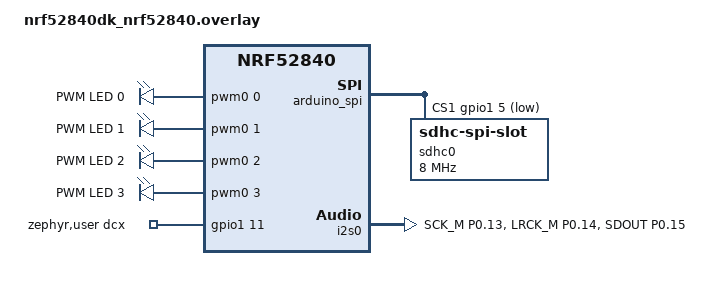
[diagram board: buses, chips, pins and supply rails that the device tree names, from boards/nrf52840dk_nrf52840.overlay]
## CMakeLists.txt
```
#-------------------------------------------------------------------------------
# Zephyr Example Application
#
# Copyright (c) 2021 Nordic Semiconductor ASA
# SPDX-License-Identifier: Apache-2.0

cmake_minimum_required(VERSION 3.13.1)
find_package(Zephyr REQUIRED HINTS $ENV{ZEPHYR_BASE})

project(app LANGUAGES C)

zephyr_include_directories(
    src
    src/Storage
    src/Audio
    src/Playback_controls
    src/Display
)
target_sources(app PRIVATE src/main.c)
target_sources(app PRIVATE src/Storage/storage_init.c)
target_sources(app PRIVATE src/Audio/wav_parser.c)
target_sources(app PRIVATE src/Audio/stream_wav_pcm.c)
target_sources(app PRIVATE src/global_variables.c)
target_sources(app PRIVATE src/Playback_controls/button_control.c)
target_sources(app PRIVATE src/Playback_controls/player_controls.c)

target_sources(app PRIVATE 
              src/display/ui.c
              src/display/images.c
              src/display/screens.c
              src/display/styles.c
              src/display/actions.c
              src/display/ui_image_eie_logo.c
              src/display/ui_image_play_button.c
              src/display/ui_image_pause_button.c
              )
```

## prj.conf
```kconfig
# Copyright (c) 2021 Nordic Semiconductor ASA
# SPDX-License-Identifier: Apache-2.0
#
# This file contains selected Kconfig options for the application.

CONFIG_GPIO=y
CONFIG_SMF=y

CONFIG_I2C=y
CONFIG_SPI=y
CONFIG_I2S=y

CONFIG_SDHC=y
CONFIG_DISK_DRIVER_SDMMC=y

CONFIG_FILE_SYSTEM=y
CONFIG_FAT_FILESYSTEM_ELM=y
CONFIG_FS_FATFS_LFN=y
CONFIG_FS_FATFS_MAX_LFN=255
CONFIG_DISK_ACCESS=y
CONFIG_PRINTK=y
CONFIG_MAIN_STACK_SIZE=4096

CONFIG_DISPLAY=y
CONFIG_LVGL=y
CONFIG_LV_FONT_MONTSERRAT_12=y
CONFIG_LV_Z_MEM_POOL_SIZE=16384
```

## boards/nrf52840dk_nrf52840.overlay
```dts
/ {
    pwmleds {
        compatible = "pwm-leds";
        pwm_led0: pwm_led_0 {
            pwms = <&pwm0 0 PWM_MSEC(20) PWM_POLARITY_NORMAL>;
            label = "PWM LED 0";
        };
        pwm_led1: pwm_led_1 {
            pwms = <&pwm0 1 PWM_MSEC(20) PWM_POLARITY_NORMAL>;
            label = "PWM LED 1";
        };
        pwm_led2: pwm_led_2 {
            pwms = <&pwm0 2 PWM_MSEC(20) PWM_POLARITY_NORMAL>;
            label = "PWM LED 2";
        };
        pwm_led3: pwm_led_3 {
            pwms = <&pwm0 3 PWM_MSEC(20) PWM_POLARITY_NORMAL>;
            label = "PWM LED 3";
        };
    };

    aliases {
        pwm-led0 = &pwm_led0;
        pwm-led1 = &pwm_led1;
        pwm-led2 = &pwm_led2;
        pwm-led3 = &pwm_led3;
    };
    zephyr,user {
        dcx-gpios = <&gpio1 11 GPIO_ACTIVE_HIGH>;
    };

    arduino_spi {
        cs-gpios = <&gpio1 12 GPIO_ACTIVE_LOW>;
    };
};

&pinctrl { 
    pwm0_default: pwm0_default {
		group1 {
			psels = 
                <NRF_PSEL(PWM_OUT0, 0, 17)>, 
                <NRF_PSEL(PWM_OUT1, 0, 18)>, 
                <NRF_PSEL(PWM_OUT2, 0, 19)>, 
                <NRF_PSEL(PWM_OUT3, 0, 20)>;
			nordic,invert;
		};
	};

    pwm0_sleep: pwm0_sleep {
		group1 {
			psels = 
                <NRF_PSEL(PWM_OUT0, 0, 17)>, 
                <NRF_PSEL(PWM_OUT1, 0, 18)>, 
                <NRF_PSEL(PWM_OUT2, 0, 19)>, 
                <NRF_PSEL(PWM_OUT3, 0, 20)>;
			low-power-enable;
		};
	};
};

&led0 {
    status = "disabled";
};

&led1 {
    status = "disabled";
};

&led2 {
    status = "disabled";
};

&led3 {
    status = "disabled";
};

&arduino_spi {
    status = "okay";

    /* Two chip-selects on the same SPI bus:
     * 0 = TFT screen CS (P1.12)
     * 1 = SD card CS   (P1.05)
     */
    cs-gpios = <&gpio1 12 GPIO_ACTIVE_LOW>,
               <&gpio1 5  GPIO_ACTIVE_LOW>;

    /* SD card as second SPI device on same bus (CS index 1) */
    sdhc0: sdhc@1 {
        compatible = "zephyr,sdhc-spi-slot";
        reg = <1>;
        status = "okay";
        spi-max-frequency = <8000000>;

        mmc {
            compatible = "zephyr,sdmmc-disk";
            disk-name = "SD";
            status = "okay";
        };
    };
};


&i2s0 {
    status = "okay";
    pinctrl-0 = <&i2s0_default>;
    pinctrl-1 = <&i2s0_sleep>;
    pinctrl-names = "default", "sleep";
};

&pinctrl {
    i2s0_default: i2s0_default {
        group1 {
            psels =
                <NRF_PSEL(I2S_SCK_M,  0, 13)>,
                <NRF_PSEL(I2S_LRCK_M, 0, 14)>,
                <NRF_PSEL(I2S_SDOUT,  0, 15)>;
        };
    };

    i2s0_sleep: i2s0_sleep {
        group1 {
            psels =
                <NRF_PSEL(I2S_SCK_M,  0, 13)>,
                <NRF_PSEL(I2S_LRCK_M, 0, 14)>,
                <NRF_PSEL(I2S_SDOUT,  0, 15)>;
            low-power-enable;
        };
    };
};
```

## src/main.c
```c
#include <zephyr/kernel.h>
#include <zephyr/sys/printk.h>
#include <zephyr/drivers/display.h>
#include <lvgl.h>

#include "storage_init.h"
#include "button_control.h"
#include "player_controls.h"
#include "ui.h"
#include "actions.h"

int main(void)
{
    int rc;
    const struct device *display_dev = DEVICE_DT_GET(DT_CHOSEN(zephyr_display));

    if (!device_is_ready(display_dev)) {
        printk("Display device not ready\n");
        return 0;
    }

    rc = storage_init();
    if (rc != 0) {
        printk("storage_init failed rc=%d\n", rc);
        return 0;
    }
    
    rc = player_control_init();
    if (rc != 0) {
        printk("player_init failed rc=%d\n", rc);
        return 0;
    }

    rc = button_control_init();
    if (rc != 0) {
        printk("button_control_init failed rc=%d\n", rc);
        return 0;
    }

    ui_init();
    display_blanking_off(display_dev);
    load_song_menu();

    player_control_start();

    while (1) {
        lv_timer_handler();
        ui_tick();
        menu_process_requests();
        k_sleep(K_MSEC(10));
        
    }

    return 0;
}
```

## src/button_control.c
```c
#include <zephyr/kernel.h>
#include "BTN.h"
#include "global_variables.h"
#include "button_control.h"

#define BUTTON_THREAD_STACK_SIZE 1024 
#define BUTTON_THREAD_PRIORITY 5 

// this part reserves board memory for the thread stack
K_THREAD_STACK_DEFINE(button_thread_stack, BUTTON_THREAD_STACK_SIZE);
static struct k_thread button_thread_data;

static void button_thread(void *p1, void *p2, void *p3)
{
    // standard thread format for zephyr needs to have 3 args
    // here we don't need it so just feed NULL into the k_create_thread function (p1,p2,p3)
    ARG_UNUSED(p1);
    ARG_UNUSED(p2);
    ARG_UNUSED(p3);

    while (1) {
        if (BTN_check_clear_pressed(BTN2)) {
            g_next_requested = true;
        }

        if (BTN_check_clear_pressed(BTN3)) {
            g_prev_requested = true;
        }

        k_sleep(K_MSEC(10));
    }
}

int button_control_init(void)
{
    int rc;

    rc = BTN_init_selected(BTN2);
    if (rc != 0) {
        return rc;
    }

    rc = BTN_init_selected(BTN3);
    if (rc != 0) {
        return rc;
    }

    k_thread_create(&button_thread_data, button_thread_stack, K_THREAD_STACK_SIZEOF(button_thread_stack),
                    button_thread, NULL, NULL, NULL, BUTTON_THREAD_PRIORITY, 0, K_NO_WAIT);

    return 0;
}
```

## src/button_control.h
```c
#ifndef BUTTON_CONTROL_H
#define BUTTON_CONTROL_H

int button_control_init(void);

#endif
```

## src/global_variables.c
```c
#include "global_variables.h"

// global variables/flags to use for multithreading for player controls
volatile bool g_next_requested = false;
volatile bool g_prev_requested = false;
volatile bool g_stop_requested = false;

volatile bool g_menu_up_requested = false;
volatile bool g_menu_down_requested = false;
volatile bool g_menu_play_requested = false;

volatile bool g_play_requested = false;
```

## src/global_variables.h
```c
#ifndef GLOBAL_VAR_H
#define GLOBAL_VAR_H

#include <stdbool.h>

extern volatile bool g_next_requested;
extern volatile bool g_prev_requested;
extern volatile bool g_stop_requested;

extern volatile bool g_menu_up_requested;
extern volatile bool g_menu_down_requested;
extern volatile bool g_menu_play_requested;

extern volatile bool g_play_requested;
#endif
```

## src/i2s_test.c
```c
/* i2s_tone_test.c
 * Simple I2S tone test (16-bit stereo, 48 kHz) for PCM5102A.
 * Plays a ~440 Hz sine-ish tone for a few seconds.
 *
 * Assumes:
 *  - i2s_dev = DEVICE_DT_GET(DT_NODELABEL(i2s0)) exists and is ready
 *  - i2s_slab is defined (I2S_BLOCK_SIZE / COUNT)
 *  - nRF is I2S master (BCLK+LRCLK out), PCM5102A is sink
 */

#include <zephyr/kernel.h>
#include <zephyr/sys/util.h>
#include <zephyr/fs/fs.h>
#include <zephyr/sys/printk.h>
#include <zephyr/device.h>
#include <zephyr/drivers/i2s.h>
#include <errno.h>
#include <stdint.h>
#include <string.h>
#include <stdbool.h>

/* Use your existing defines if already present */
#ifndef I2S_BLOCK_SIZE
#define I2S_BLOCK_SIZE   2048
#endif
#ifndef I2S_BLOCK_COUNT
#define I2S_BLOCK_COUNT  8
#endif
#ifndef I2S_TIMEOUT_MS
#define I2S_TIMEOUT_MS   2000
#endif

K_MEM_SLAB_DEFINE(i2s_slab, I2S_BLOCK_SIZE, I2S_BLOCK_COUNT, 4);

static const struct device *i2s_dev = DEVICE_DT_GET(DT_NODELABEL(i2s0));

static int i2s_config_tx_stereo_16(uint32_t sample_rate_hz)
{
    if (!device_is_ready(i2s_dev)) {
        printk("I2S device not ready\n");
        return -ENODEV;
    }

    struct i2s_config cfg = {0};

    cfg.word_size      = 16;
    cfg.channels       = 2;
    cfg.format         = I2S_FMT_DATA_FORMAT_I2S | I2S_FMT_DATA_ORDER_MSB;
    cfg.options        = I2S_OPT_BIT_CLK_MASTER | I2S_OPT_FRAME_CLK_MASTER;
    cfg.frame_clk_freq = sample_rate_hz;
    cfg.block_size     = I2S_BLOCK_SIZE;
    cfg.mem_slab       = &i2s_slab;
    cfg.timeout        = I2S_TIMEOUT_MS;

    int rc = i2s_configure(i2s_dev, I2S_DIR_TX, &cfg);
    if (rc) {
        printk("i2s_configure(TX) failed: %d\n", rc);
    }
    return rc;
}

static void i2s_stop_tx(void)
{
    (void)i2s_trigger(i2s_dev, I2S_DIR_TX, I2S_TRIGGER_DRAIN);
    (void)i2s_trigger(i2s_dev, I2S_DIR_TX, I2S_TRIGGER_STOP);
}

/* Tiny sine-ish lookup table (one period), Q15-ish amplitude.
 * This keeps the code simple (no math library).
 * 64 samples per period -> tone freq = Fs/64.
 * At 48kHz, Fs/64 = 750 Hz. (Not 440, but clearly audible.)
 */
static const int16_t sin64[64] = {
      0,  3212,  6393,  9512, 12539, 15446, 18204, 20787,
  23170, 25329, 27245, 28898, 30273, 31356, 32137, 32610,
  32767, 32610, 32137, 31356, 30273, 28898, 27245, 25329,
  23170, 20787, 18204, 15446, 12539,  9512,  6393,  3212,
      0, -3212, -6393, -9512,-12539,-15446,-18204,-20787,
 -23170,-25329,-27245,-28898,-30273,-31356,-32137,-32610,
 -32767,-32610,-32137,-31356,-30273,-28898,-27245,-25329,
 -23170,-20787,-18204,-15446,-12539, -9512, -6393, -3212
};

static void fill_stereo_block_16(void *block, uint32_t frames, uint32_t *phase, int16_t amp)
{
    /* block is interleaved L,R 16-bit */
    int16_t *p = (int16_t *)block;

    for (uint32_t i = 0; i < frames; i++) {
        int16_t s = (int16_t)((amp * (int32_t)sin64[*phase]) / 32767);

        /* L then R */
        *p++ = s;
        *p++ = s;

        *phase = (*phase + 1) & 63; /* 0..63 */
    }
}

int i2s_tone_test(void)
{
    const uint32_t fs = 48000;               /* common, easy clocking */
    const uint32_t bytes_per_frame = 2 /*ch*/ * 2 /*bytes*/;  /* 4 */
    const uint32_t frames_per_block = I2S_BLOCK_SIZE / bytes_per_frame;

    int rc = i2s_config_tx_stereo_16(fs);
    if (rc) return rc;

    /* Prime 2 blocks */
    uint32_t phase = 0;
    int16_t amp = 9000; /* keep it moderate to avoid clipping */

    for (int k = 0; k < 2; k++) {
        void *blk = NULL;
        rc = k_mem_slab_alloc(&i2s_slab, &blk, K_MSEC(I2S_TIMEOUT_MS));
        if (rc) {
            printk("slab alloc prime failed: %d\n", rc);
            rc = -ENOMEM;
            goto out;
        }

        fill_stereo_block_16(blk, frames_per_block, &phase, amp);

        rc = i2s_write(i2s_dev, blk, I2S_BLOCK_SIZE);
        if (rc) {
            printk("i2s_write prime failed: %d\n", rc);
            k_mem_slab_free(&i2s_slab, &blk);
            goto out;
        }
    }

    rc = i2s_trigger(i2s_dev, I2S_DIR_TX, I2S_TRIGGER_START);
    if (rc) {
        printk("i2s_trigger START failed: %d\n", rc);
        goto out;
    }

    /* Push enough blocks for ~3 seconds */
    const uint32_t blocks_per_sec = fs / frames_per_block;
    const uint32_t total_blocks = blocks_per_sec * 3;

    for (uint32_t n = 0; n < total_blocks; n++) {
        void *blk = NULL;
        rc = k_mem_slab_alloc(&i2s_slab, &blk, K_MSEC(I2S_TIMEOUT_MS));
        if (rc) {
            printk("slab alloc failed: %d\n", rc);
            rc = -ENOMEM;
            break;
        }

        fill_stereo_block_16(blk, frames_per_block, &phase, amp);

        rc = i2s_write(i2s_dev, blk, I2S_BLOCK_SIZE);
        if (rc) {
            printk("i2s_write failed: %d\n", rc);
            k_mem_slab_free(&i2s_slab, &blk);
            break;
        }
    }

out:
    i2s_stop_tx();
    return rc;
}
```

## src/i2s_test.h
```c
/* i2s_test.h */
#ifndef I2S_TEST_H
#define I2S_TEST_H

int i2s_tone_test(void);

#endif /* I2S_TEST_H */
```

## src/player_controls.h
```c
#ifndef PLAYER_H
#define PLAYER_H

int player_control_init(void);
void player_control_run(void);

#endif
```

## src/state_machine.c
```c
#include <zephyr/kernel.h>
#include <zephyr/smf.h>
#include "LED.h"
#include "BTN.h"
#include "state_machine.h"

enum state_machine_states {FIRST_STRING, SECOND_STRING, PRINT_STRING, STANDBY};

typedef struct {
    struct smf_ctx ctx;
    uint16_t count;

    uint8_t passcode;
    int8_t bit_index;

    char string[3]; // two character string, with a 3rd char for \0
    uint8_t str_len;

    uint8_t duty_cycle;
    int8_t direction;
    enum state_machine_states previous_state;
} state_object;

static state_object lesson_6_sm;

// Function Prototypes
static void first_string_entry(void *o);
static enum smf_state_result first_string_run(void *o);

static void second_string_entry(void *o);
static enum smf_state_result second_string_run(void *o);

static void print_string_entry(void *o);
static enum smf_state_result print_string_run(void *o);

static void standby_entry(void *o);
static enum smf_state_result standby_run(void *o);
static void standby_exit(void *o);

static int standby_checker_function(state_object *sm, enum state_machine_states current_state);

static void passcode_add_bit(state_object *sm, uint8_t bit);
static void passcode_clear(state_object *sm);
static void Flash_LED(led_id led);

static void string_clear(state_object *sm);
static void append_to_string(state_object *sm, char character, uint8_t index);

/*----------------------------------------------------------
 * Local Variables
 *----------------------------------------------------------*/
static const struct smf_state states[] = {
    [FIRST_STRING] =    SMF_CREATE_STATE(first_string_entry, first_string_run, NULL, NULL, NULL),
    [SECOND_STRING] =   SMF_CREATE_STATE(second_string_entry, second_string_run, NULL, NULL, NULL),
    [PRINT_STRING] =    SMF_CREATE_STATE(print_string_entry, print_string_run, NULL, NULL, NULL),
    [STANDBY] =         SMF_CREATE_STATE(standby_entry, standby_run, standby_exit, NULL, NULL)
};


void state_machine_init(void)
{
    lesson_6_sm.count = 0;

    lesson_6_sm.passcode = 0;
    lesson_6_sm.bit_index = 7;

    lesson_6_sm.duty_cycle = 0;
    lesson_6_sm.direction = 1;
    smf_set_initial(SMF_CTX(&lesson_6_sm), &states[FIRST_STRING]); // sets o to point at lesson_6_sm state machine (*o),
                                                                   // and sets first state to be FIRST_STRING

    lesson_6_sm.previous_state = FIRST_STRING;
    string_clear(&lesson_6_sm);

}

int state_machine_run(void)
{
    return smf_run_state(SMF_CTX(&lesson_6_sm));
}


// FIRST_STRING FUNCTIONS
static void first_string_entry(void *o){
    state_object *sm = o;
    passcode_clear(sm);
    string_clear(sm);
    printk("ENTERED FIRST_STRING\n");
    LED_blink(LED3, LED_1HZ);

}

static enum smf_state_result first_string_run(void *o){

    state_object *sm = o;

    if(standby_checker_function(sm, FIRST_STRING)){
        return SMF_EVENT_HANDLED;
    }

    // Reset entered bits
    if (BTN_check_clear_pressed(BTN2)) {
        printk("RESET PASSCODE\n");
        passcode_clear(sm);
        return SMF_EVENT_HANDLED;
    }
    
    if(BTN_check_clear_pressed(BTN0)){          // adds 0 bit to passcode
        passcode_add_bit(sm, 0);
    } else if(BTN_check_clear_pressed(BTN1)){   // adds 1 bit to passcode
        passcode_add_bit(sm, 1);
    }

    if(BTN_check_clear_pressed(BTN3)){
        if(sm->bit_index<0){
            append_to_string(sm, sm->passcode, 0);
            smf_set_state(SMF_CTX(sm), &states[SECOND_STRING]);
        }
    }

    return SMF_EVENT_HANDLED;
}

// SECOND_STRING FUNCTIONS
static void second_string_entry(void *o){
    state_object *sm = o;
    passcode_clear(sm);

    printk("ENTERED SECOND_STRING\n");
    LED_blink(LED3, LED_4HZ);

    printk("string is %s\n", sm->string);
}

static enum smf_state_result second_string_run(void *o){

    state_object *sm = o;

    if(standby_checker_function(sm, SECOND_STRING)){
        return SMF_EVENT_HANDLED;
    }

    // Reset entered bits
    if (BTN_check_clear_pressed(BTN2)) {
        printk("RESET EVERYTHING\n");
        passcode_clear(sm);
        string_clear(sm);
        smf_set_state(SMF_CTX(sm), &states[FIRST_STRING]);
        return SMF_EVENT_HANDLED;
    }
    
    if(BTN_check_clear_pressed(BTN0)){          // adds 0 bit to passcode
        passcode_add_bit(sm, 0);
    } else if(BTN_check_clear_pressed(BTN1)){   // adds 1 bit to passcode
        passcode_add_bit(sm, 1);
    }

    if(BTN_check_clear_pressed(BTN3)){
        if(sm->bit_index<0){
            append_to_string(sm, sm->passcode, 1);
            smf_set_state(SMF_CTX(sm), &states[PRINT_STRING]);
        }
    }
    return SMF_EVENT_HANDLED;
}

// PRINT_STRING FUNCTIONS
static void print_string_entry(void *o){
    state_object *sm = o;
    printk("ENTERED PRINT_STRING\n");
    printk("string is %s\n", sm->string);
    LED_blink(LED3, LED_16HZ);
}

static enum smf_state_result print_string_run(void *o){

    state_object *sm = o;

    if(standby_checker_function(sm, PRINT_STRING)){
        return SMF_EVENT_HANDLED;
    }

    if(BTN_check_clear_pressed(BTN2)){
        smf_set_state(SMF_CTX(sm), &states[FIRST_STRING]);
    }

    if(BTN_check_clear_pressed(BTN3)){
        printk("Code is %s \n", sm->string);
        //printk("Printed passcode\n");
    }
        
    return SMF_EVENT_HANDLED;
}
// STANDYBY FUNCTIONS
static void standby_entry(void *o){
    printk("ENTERED STANDBY\n");
    state_object *sm = o;
    sm->duty_cycle = 0;
    sm->direction = 1;
}

static enum smf_state_result standby_run(void *o){

    state_object *sm = o;
    
    sm->duty_cycle += sm->direction;

    if (sm->duty_cycle >= 100) {
        sm->duty_cycle = 100;
        sm->direction = -1;
    } else if (sm->duty_cycle <= 0) {
        sm->duty_cycle = 0;
        sm->direction = 1;
    }

    LED_pwm(LED0, sm->duty_cycle);
    LED_pwm(LED1, sm->duty_cycle);
    LED_pwm(LED2, sm->duty_cycle);
    LED_pwm(LED3, sm->duty_cycle);

    if(BTN_check_clear_pressed(BTN0) || BTN_check_clear_pressed(BTN1) || BTN_check_clear_pressed(BTN2) || BTN_check_clear_pressed(BTN3)){
        smf_set_state(SMF_CTX(sm), &states[sm->previous_state]);
    }
    return SMF_EVENT_HANDLED;
}

static void standby_exit(void *o){
    LED_set(LED0, LED_OFF);
    LED_set(LED1, LED_OFF);
    LED_set(LED2, LED_OFF);
    LED_set(LED3, LED_OFF);
    
    printk("LEAVING STANDBY\n");
}

static int standby_checker_function(state_object *sm, enum state_machine_states current_state){
    
    if(BTN_is_pressed(BTN0) && BTN_is_pressed(BTN1)){
        sm->count++;
        if ((sm->count % 100) == 0) {
            printk("hold count=%u\n", sm->count);
        }

        if (sm->count > 1500) {
            sm->count = 0;
            sm->previous_state = current_state; // stores the current state that you were previously in 
                                                // so you can return to it after standby is over
            BTN_clear_pressed(BTN0);
            BTN_clear_pressed(BTN1);
            smf_set_state(SMF_CTX(sm), &states[STANDBY]);
            return 1;
        }

    }
    else sm->count = 0;
    
    return 0;
}


static void passcode_add_bit(state_object *sm, uint8_t bit){
    if(sm->bit_index < 0){
        printk("8 bit limit reached\n");
        return;
    } else if(bit) {
        sm->passcode |= (1 << sm->bit_index);
        printk("bit=1, index=%d\n", sm->bit_index);
        Flash_LED(LED1);
    } else {
        printk("bit=0, index=%d\n", sm->bit_index);
        Flash_LED(LED0);
    }
    sm->bit_index -= 1;
    return;
}

static void passcode_clear(state_object *sm){
    sm->passcode = 0;
    sm->bit_index = 7;
}

static void Flash_LED(led_id led){
    LED_set(led, LED_ON);
    k_msleep(100);
    LED_set(led, LED_OFF);
}

static void string_clear(state_object *sm)
{
    sm->str_len = 0;
    sm->string[0] = '\0';
}

static void append_to_string(state_object *sm, char character, uint8_t index){
    sm->string[index] = character;
    sm->string[index+1] = '\0';
}
```

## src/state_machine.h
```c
#ifndef STATE_MACHINE_H
#define STATE_MACHINE_H

void state_machine_init();

int state_machine_run();

#endif
```

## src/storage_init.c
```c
#include <zephyr/sys/printk.h>
#include <zephyr/fs/fs.h>
#include <zephyr/storage/disk_access.h>
#include <ff.h>
#include <string.h>

#include "storage_init.h"

#define DISK_NAME   "SD"
#define MOUNT_POINT "/SD:"


static FATFS fat_fs;

static struct fs_mount_t mp = {
        .type = FS_FATFS,
        .fs_data = &fat_fs,
        .mnt_point = MOUNT_POINT,
        .storage_dev = (void *)DISK_NAME,   
    };

int storage_init(void)
{
    int rc;

    rc = disk_access_ioctl(DISK_NAME, DISK_IOCTL_CTRL_INIT, NULL);
    printk("disk init rc=%d\n", rc);
    if (rc != 0){
        return rc;
    }

    // Mount the filesystem
    rc = fs_mount(&mp);
    printk("fs_mount rc=%d\n", rc);
    if (rc != 0){
        return rc;
    }
    return 0;
}

int file_name_read(char file_names[MAX_FILE_AMOUNT][MAX_LETTER_AMOUNT])
{
    int rc;
    struct fs_dir_t directory;
    struct fs_dirent entry;

    uint8_t file_amount = 0;

    fs_dir_t_init(&directory);

    rc = fs_opendir(&directory, MOUNT_POINT);
    if (rc < 0) {
        printk("fs_opendir(%s) failed rc=%d\n", MOUNT_POINT, rc);
        return rc;
    }

    while (file_amount < MAX_FILE_AMOUNT) {

        rc = fs_readdir(&directory, &entry);
        if (rc < 0) {
            printk("fs_readdir failed rc=%d\n", rc);
            break;
        }

        /* End of directory */
        if (entry.name[0] == 0) {
            break;
        }

        /* Skip . and .. */
        if (!strcmp(entry.name, ".") || !strcmp(entry.name, "..")) {
            continue;
        }

        /* Only keep files */
        if (entry.type != FS_DIR_ENTRY_FILE) {
            continue;
        }

        /* Copy filename into array */
        strncpy(file_names[file_amount], entry.name, MAX_LETTER_AMOUNT - 1);
        file_names[file_amount][MAX_LETTER_AMOUNT - 1] = '\0';

        //printk("Stored file: %s\n", file_names[file_amount]);

        file_amount++;
    }

    fs_closedir(&directory);

    return file_amount;   // return how many files were stored
}

void build_wav_path(char *dest, size_t dest_size, const char *filename)
{
    snprintf(dest, dest_size, "%s/%s", MOUNT_POINT, filename);
}
```

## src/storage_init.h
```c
#ifndef STORAGE_INIT_H
#define STORAGE_INIT_H

#define MAX_LETTER_AMOUNT 64
#define MAX_FILE_AMOUNT 32

int storage_init();
int file_name_read(char file_names[MAX_FILE_AMOUNT][MAX_LETTER_AMOUNT]);

#endif
```

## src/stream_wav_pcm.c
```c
#include <zephyr/kernel.h>
#include <zephyr/sys/util.h>
#include <zephyr/fs/fs.h>
#include <zephyr/sys/printk.h>
#include <zephyr/device.h>
#include <zephyr/drivers/i2s.h>
#include <errno.h>
#include <stdint.h>
#include <string.h>

#include "stream_wav_pcm.h"
#include "wav_parser.h"
#include "global_variables.h"


#define I2S_TIMEOUT_MS   2000

// I2s needs fixed sized memory blocks (all considered a slab) when that are dedicated to i2s 
// better than malloc because easier and faster to allocate memory which is needed for audio.
// You want multiple memory blocks so that you can stream and process data at the same time
#define I2S_BLOCK_SIZE   2048 // fill chunks of 2048 bytes
#define I2S_BLOCK_COUNT  8    // 8 memory blocks for buffering for i2s
K_MEM_SLAB_DEFINE(i2s_slab, I2S_BLOCK_SIZE, I2S_BLOCK_COUNT, 4);

static const struct device *i2s_dev = DEVICE_DT_GET(DT_NODELABEL(i2s0));

static int i2s_config_tx(uint32_t sample_rate_hz)
{
    if (!device_is_ready(i2s_dev)) {
        printk("I2S device not ready\n");
        return -ENODEV;
    }

    struct i2s_config cfg = {
        .word_size      = 16, // 16 bit stereo audio
        .channels       = 2,  // 2 channels, L and R
        .format         = I2S_FMT_DATA_FORMAT_LEFT_JUSTIFIED, // board kept outputting in left Jus even in standard philips i2s
        .options        = I2S_OPT_BIT_CLK_MASTER | I2S_OPT_FRAME_CLK_MASTER, // board generates bit clk for dac
        .frame_clk_freq = sample_rate_hz, // play back speed matches the sample rate of the wav file
        .block_size     = I2S_BLOCK_SIZE,
        .mem_slab       = &i2s_slab,
        .timeout        = I2S_TIMEOUT_MS
    };

    int rc = i2s_configure(i2s_dev, I2S_DIR_TX, &cfg);
    printk("i2s_configure rc=%d\n", rc);
    
    return rc;
}

static inline void reclaim_mem_block(void)
{
    void *released = NULL;
    size_t released_size = 0;

    // i2s_read checks if any blocks are free, and if yes, free the block
    int rc = i2s_read(i2s_dev, &released, &released_size);
    if (rc == 0 && released != NULL) {
        k_mem_slab_free(&i2s_slab, released);
    }
}

static void i2s_stop_tx(void)
{
    (void)i2s_trigger(i2s_dev, I2S_DIR_TX, I2S_TRIGGER_DRAIN);
    (void)i2s_trigger(i2s_dev, I2S_DIR_TX, I2S_TRIGGER_STOP);

    for (int i = 0; i < I2S_BLOCK_COUNT; i++) {
        reclaim_mem_block();
    }
}

int stream_pcm(const char *path, const struct wav_info *info)
{
    int rc = i2s_config_tx(info->sample_rate); // configures i2s to wav sample right
    if (rc) {
        printk("stream_pcm(): i2s_config_tx failed rc=%d\n", rc);
        return rc;
    }

    struct fs_file_t f;
    fs_file_t_init(&f);

    rc = fs_open(&f, path, FS_O_READ);
    printk("stream_pcm(): fs_open rc=%d\n", rc);
    if (rc < 0){
        return rc;
    }

    rc = fs_seek(&f, info->data_offset, FS_SEEK_SET); // skips the formatting chunks and goes to data chunks
    printk("stream_pcm(): fs_seek rc=%d\n", rc);
    if (rc < 0) {
        fs_close(&f);
        return rc;
    }

    size_t bytes_left = info->data_size;
    for (int n = 0; n < (I2S_BLOCK_COUNT / 2) && bytes_left > 0; n++) { // prime memory blocks with data to prevent delays
        void *block = NULL;

        rc = k_mem_slab_alloc(&i2s_slab, &block, K_FOREVER); // allocates a free mem block
        if (rc) {
            printk("stream_pcm(): slab alloc prime rc=%d\n", rc);
            rc = -ENOMEM;
            goto out;
        }

        // read size takes the smaller value of the block size or how ever many bytes are left
        // and then rounds it down so its a multiple of block align so you don't have half an audio frame
        size_t read_size = MIN(bytes_left, (size_t)I2S_BLOCK_SIZE);
        read_size -= (read_size % info->block_align);
        if (read_size == 0) {
            k_mem_slab_free(&i2s_slab, block);
            break;
        }

        ssize_t r = fs_read(&f, block, read_size);
        if (r <= 0) {
            printk("stream_pcm(): fs_read(prime mem blocks) r=%d\n", (int)r);
            k_mem_slab_free(&i2s_slab, block);
            rc = -EIO;
            goto out;
        }

        // fills the rest of the block with 0s if theres less bytes read than the 2048 block size
        if ((size_t)r < I2S_BLOCK_SIZE) {
            memset((uint8_t *)block + (size_t)r, 0, I2S_BLOCK_SIZE - (size_t)r); 
        }

        bytes_left -= (size_t)r;

        rc = i2s_write(i2s_dev, block, I2S_BLOCK_SIZE);
        printk("stream_pcm(): prime i2s_write[%d] rc=%d\n", n, rc);
        if (rc) {
            k_mem_slab_free(&i2s_slab, block);
            goto out;
        }
    }

    printk("stream_pcm(): START\n");
    rc = i2s_trigger(i2s_dev, I2S_DIR_TX, I2S_TRIGGER_START);
    printk("stream_pcm(): i2s_trigger(START) rc=%d\n", rc);
    if (rc) {
        goto out;
    }
    printk("stream_pcm(): streaming loop...\n");

    uint32_t blocks_sent = 0;

    while (bytes_left > 0) {

        if (g_next_requested || g_prev_requested || g_stop_requested) {
        printk("stream_pcm(): stop/skip requested\n");
        rc = 0;
        break;
        }
        void *block = NULL;


        reclaim_mem_block();

        rc = k_mem_slab_alloc(&i2s_slab, &block, K_FOREVER);
        if (rc) {
            printk("stream_pcm(): slab alloc loop rc=%d\n", rc);
            rc = -ENOMEM;
            break;
        }

        size_t read_size = MIN(bytes_left, (size_t)I2S_BLOCK_SIZE);
        read_size -= (read_size % info->block_align);
        if (read_size == 0) {
            k_mem_slab_free(&i2s_slab, block);
            break;
        }

        ssize_t r = fs_read(&f, block, read_size);
        if (r <= 0) {
            printk("stream_pcm(): fs_read(loop) r=%d\n", (int)r);
            k_mem_slab_free(&i2s_slab, block);
            rc = -EIO;
            break;
        }

        if ((size_t)r < I2S_BLOCK_SIZE) {
            memset((uint8_t *)block + (size_t)r, 0, I2S_BLOCK_SIZE - (size_t)r);
        }

        bytes_left -= (size_t)r;

        rc = i2s_write(i2s_dev, block, I2S_BLOCK_SIZE);
        if (rc) {
            printk("stream_pcm(): i2s_write(loop) rc=%d\n", rc);
            k_mem_slab_free(&i2s_slab, block);
            break;
        }

        blocks_sent++;
        if ((blocks_sent % 1000) == 0) {
            printk("stream_pcm(): blocks_sent=%u bytes_left=%u\n", blocks_sent, bytes_left);
        }
    }

out:
    printk("stream_pcm(): stopping rc=%d\n", rc);
    fs_close(&f);
    i2s_stop_tx();
    printk("stream_pcm(): exit rc=%d\n", rc);
    return rc;
}

int play_current_file(const char *path, struct wav_info *info)
{
    int rc;

    rc = parse_wav(path, info);
    printk("parse_wav rc=%d\n", rc);
    if (rc != 0) {
        return rc;
    }

    rc = stream_pcm(path, info);
    printk("stream_pcm rc=%d\n", rc);
    if (rc != 0) {
        return rc;
    }

    return 0;
}
```
